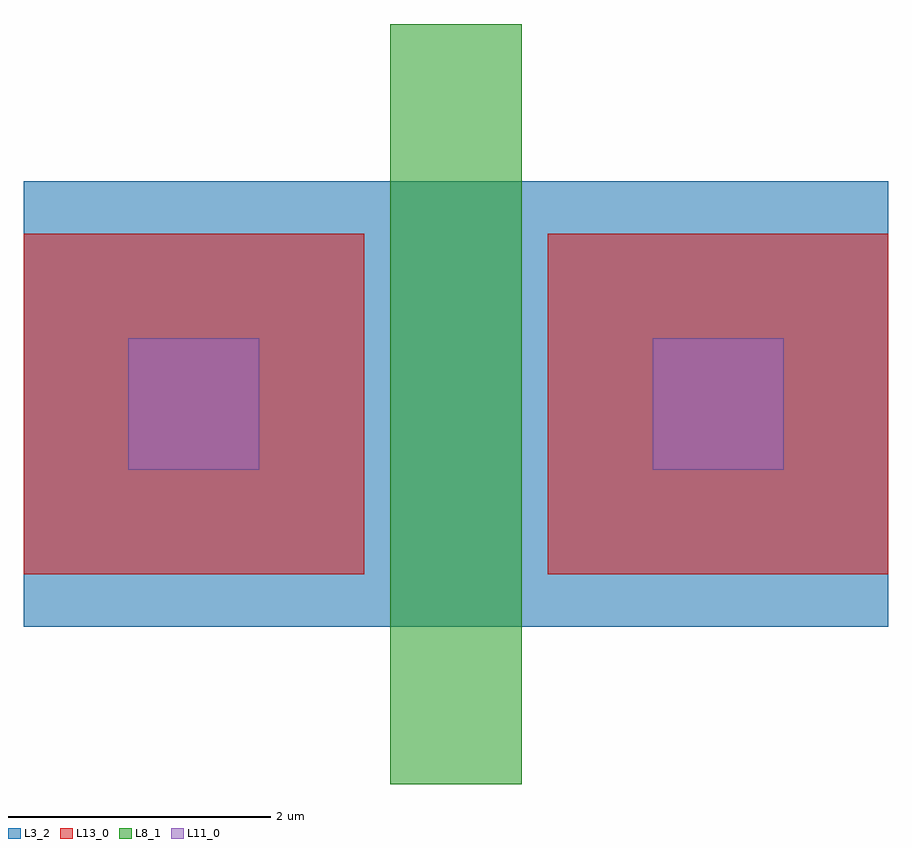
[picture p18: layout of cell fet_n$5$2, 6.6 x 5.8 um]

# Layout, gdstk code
import gdstk
lib = gdstk.Library(unit=1e-6, precision=1e-07)
def R(c, l, rs):  # rectangles x0, y0, x1, y1
    for r in rs: c.add(gdstk.rectangle(r[:2], r[2:], *l))
L3_2 = (3, 2)
L8_1 = (8, 1)
L11_0 = (11, 0)
L13_0 = (13, 0)

fet_n_5_2 = lib.new_cell('fet_n$5$2')
R(fet_n_5_2, L3_2, [(-3.3,-1.7,3.3,1.7)])
R(fet_n_5_2, L11_0, [(-2.5,-0.5,-1.5,0.5), (1.5,-0.5,2.5,0.5)])
R(fet_n_5_2, L13_0, [(-3.3,-1.3,-0.7,1.3), (0.7,-1.3,3.3,1.3)])
fet_n_5_2.add(gdstk.FlexPath([(0,-2.9),(0,2.9)], 1, ends="flush", simple_path=True, layer=8, datatype=1))  # L8_1

lib.write_gds('fet_n_5_2.gds')
